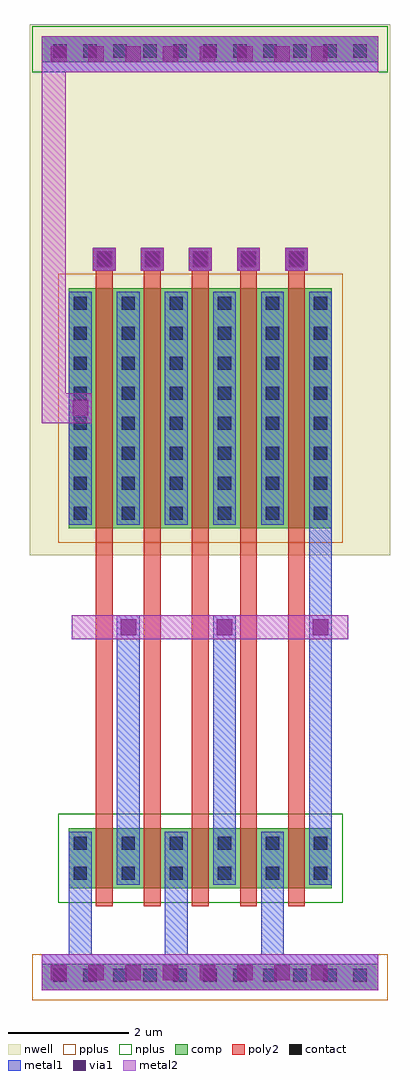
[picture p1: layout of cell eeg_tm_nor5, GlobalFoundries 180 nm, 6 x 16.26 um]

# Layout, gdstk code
import gdstk
lib = gdstk.Library(unit=1e-6, precision=1e-09)
def R(c, l, rs):  # rectangles x0, y0, x1, y1
    for r in rs: c.add(gdstk.rectangle(r[:2], r[2:], *l))
def A(c, l, x, y, w, h, nx, ny, dx, dy):  # array of equal rectangles
    R(c, l, [(x+i*dx, y+j*dy, x+i*dx+w, y+j*dy+h) for i in range(nx) for j in range(ny)])
nwell = (21, 0)
comp = (22, 0)
poly2 = (30, 0)
pplus = (31, 0)
nplus = (32, 0)
contact = (33, 0)
metal1 = (34, 0)
via1 = (35, 0)
metal2 = (36, 0)

eeg_tm_nor5 = lib.new_cell('eeg_tm_nor5')
R(eeg_tm_nor5, nwell, [(-0.2,7.25,5.8,16.1)])
R(eeg_tm_nor5, comp, [(0,0,5.6,0.44), (0.45,1.7,4.83,2.7), (0.45,7.7,4.83,11.7), (0,15.46,5.6,15.9)])
A(eeg_tm_nor5, poly2, 0.9, 1.4, 0.28, 6.3, 5, 1, 0.8, 0)
A(eeg_tm_nor5, poly2, 0.9, 7.4, 0.28, 4.96, 5, 1, 0.8, 0)
A(eeg_tm_nor5, poly2, 0.86, 12, 0.36, 0.36, 5, 1, 0.8, 0)
R(eeg_tm_nor5, pplus, [(-0.16,-0.16,5.76,0.6), (0.27,7.46,5.01,11.94)])
R(eeg_tm_nor5, nplus, [(0.27,1.46,5.01,2.94), (-0.16,15.3,5.76,16.06)])
A(eeg_tm_nor5, contact, 0.19, 0.14, 0.22, 0.22, 11, 2, 0.5, 15.4)
A(eeg_tm_nor5, contact, 0.53, 1.84, 0.22, 0.22, 6, 2, 0.8, 0.5)
A(eeg_tm_nor5, contact, 0.53, 7.84, 0.22, 0.22, 6, 8, 0.8, 0.5)
A(eeg_tm_nor5, contact, 0.93, 12.07, 0.22, 0.22, 5, 1, 0.8, 0)
A(eeg_tm_nor5, metal1, 0.45, 0.3, 0.38, 2.34, 3, 1, 1.6, 0)
A(eeg_tm_nor5, metal1, 1.25, 1.76, 0.38, 4.49, 3, 1, 1.6, 0)
A(eeg_tm_nor5, metal1, 0.45, 7.76, 0.38, 3.88, 5, 1, 0.8, 0)
A(eeg_tm_nor5, metal1, 0.85, 11.99, 0.38, 0.38, 5, 1, 0.8, 0)
R(eeg_tm_nor5, metal1, [(0,0,5.6,0.6), (0,0,5.6,0.44), (4.45,5.85,4.83,11.64), (0,15.3,5.6,15.9), (0,15.46,5.6,15.9)])
A(eeg_tm_nor5, via1, 0.15, 0.17, 0.26, 0.26, 8, 2, 0.62, 15.3)
A(eeg_tm_nor5, via1, 1.31, 5.92, 0.26, 0.26, 3, 1, 1.6, 0)
A(eeg_tm_nor5, via1, 0.91, 12.05, 0.26, 0.26, 5, 1, 0.8, 0)
R(eeg_tm_nor5, via1, [(4.51,5.92,4.77,6.18), (0.51,9.57,0.77,9.83)])
A(eeg_tm_nor5, metal2, 0.85, 11.99, 0.38, 0.38, 5, 1, 0.8, 0)
R(eeg_tm_nor5, metal2, [(0,0,5.6,0.6), (0.5,5.85,5.1,6.25), (0,9.45,0.83,9.95), (0,9.45,0.4,15.3), (0,15.3,5.6,15.9)])

lib.write_gds('eeg_tm_nor5.gds')
